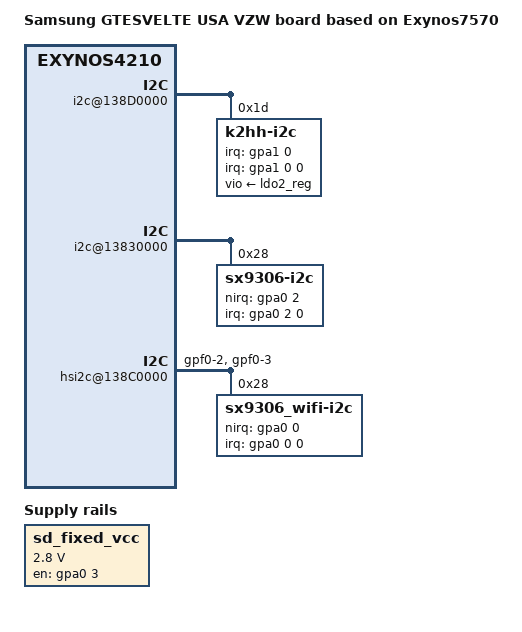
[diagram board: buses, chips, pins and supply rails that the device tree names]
/*
 * SAMSUNG UNIVERSAL7570 board device tree source
 *
 * Copyright (c) 2013 Samsung Electronics Co., Ltd.
 *		http://www.samsung.com
 *
 * This program is free software; you can redistribute it and/or modify
 * it under the terms of the GNU General Public License version 2 as
 * published by the Free Software Foundation.
*/

/dts-v1/;
#include "exynos7570-rmem.dtsi"
#include "exynos7570-gtesvelte_common.dtsi"
#include "modem-ss305ap-pdata.dtsi"
#include "exynos7570-gtesvelte_battery.dtsi"
#include "exynos7570-gtesvelte_usa_vzw_gpio_00.dtsi"

/ {
	model = "Samsung GTESVELTE USA VZW board based on Exynos7570";
        model_info-chip = <7570>;
        model_info-platform = "android";
        model_info-subtype = "samsung";
        model_info-hw_rev = <0>;
        model_info-hw_rev_end = <0>;
	compatible = "samsung,exynos7570", "samsung,exynos4210";


	pinctrl@139F0000 {
		acc_int: acc_int {
			samsung,pins = "gpa1-0";
			samsung,pin-function = <0xF>;
			samsung,pin-pud = <0>;
			samsung,pin-drv = <0>;
		};

		grip_int: grip_int {
			samsung,pins = "gpa0-2";
			samsung,pin-function = <0xF>;
			samsung,pin-pud = <0>;
			samsung,pin-drv = <0>;
		};

		grip_wifi_int: grip_wifi_int {
			samsung,pins = "gpa0-0";
			samsung,pin-function = <0xF>;
			samsung,pin-pud = <0>;
			samsung,pin-drv = <0>;
		};
	};

	pinctrl@139B0000 {
		grip_wifi_i2c: grip_wifi_i2c {
			samsung,pins = "gpf0-2", "gpf0-3";
			samsung,pin-function = <2>;
			samsung,pin-pud = <3>;
		};
	};

	i2c@138D0000 {
		samsung,i2c-sda-delay = <100>;
		samsung,i2c-max-bus-freq = <400000>;
		status = "okay";
		#address-cells = <1>;
		#size-cells = <0>;
		pinctrl-names = "default";

		k2hh-i2c@1D {
			compatible = "k2hh-i2c";
			reg = <0x1D>;
			pinctrl-names = "default";
			pinctrl-0 = <&acc_int>;
			interrupt-parent = <&gpa1>;
			interrupts = <0 0 0>;
			k2hh,irq_gpio = <&gpa1 0 0>;
			k2hh,vio-supply = <&ldo2_reg>;
			k2hh,axis_map_x = <1>;
			k2hh,axis_map_y = <0>;
			k2hh,axis_map_z = <2>;
			k2hh,negate_x = <1>;
			k2hh,negate_y = <0>;
			k2hh,negate_z = <1>;
			k2hh,poll_interval = <100>;
			k2hh,min_interval = <2>;
		};
	};

	i2c@13830000 {
		samsung,i2c-sda-delay = <100>;
		samsung,i2c-max-bus-freq = <400000>;
		status = "okay";
		#address-cells = <1>;
		#size-cells = <0>;
		pinctrl-names = "default";		
		
		sx9306-i2c@28 {
			compatible = "sx9306-i2c";
			reg = <0x28>;
			pinctrl-names = "default";
			pinctrl-0 = <&grip_int>;
			interrupt-parent = <&gpa0>;
			interrupts = <2 0 0>;
			sx9306-i2c,nirq-gpio = <&gpa0 2 0>;
			#sx9306-i2c,ctrl0 = <0x14>; /* Scanperiod : 60 */
			sx9306-i2c,ctrl2 = <0x77>; /* Gain: 8, Freq : 167, Resolution : Finest */
			sx9306-i2c,ctrl3 = <0x03>; /* Rawfilter: High */
			sx9306-i2c,ctrl4 = <0x40>; /* AVGTHRESH */
			sx9306-i2c,ctrl5 = <0x36>; /* AVGNEG: 110 AVGPOS: 110 */
			sx9306-i2c,normal-thd = <5>; /* normal touch threshold */
			sx9306-i2c,ch-main = <2>; /* channel number */
			sx9306-i2c,ch-sub1 = <0xff>; /*oxff: Not be used sub channel */
			sx9306-i2c,ta-thd = <0x0f>; /* TA threhold : 300 */
		};
	};

	hsi2c@138C0000 {
		status = "okay";
		pinctrl-names = "default";
		pinctrl-0 = <&grip_wifi_i2c>;	

		sx9306_wifi-i2c@28{
			compatible = "sx9306_wifi-i2c";
			reg = <0x28>;
			pinctrl-names = "default";
			pinctrl-0 = <&grip_wifi_int>;
			interrupt-parent = <&gpa0>;
			interrupts = <0 0 0>;
			sx9306_wifi-i2c,nirq-gpio = <&gpa0 0 0>;
			#sx9306_wifi-i2c,ctrl0 = <0x04>; /* Scanperiod : 30 */
			sx9306_wifi-i2c,ctrl2 = <0x77>; /* Gain:8, Freq : 167, Resolution : Finest */
			sx9306_wifi-i2c,ctrl3 = <0x03>; /* Rawfilter: High */
			#sx9306_wifi-i2c,ctrl5 = <0x0f>; /* AVGNEG:001 AVGPOS : 111 */
			sx9306_wifi-i2c,normal-thd = <4>; /* normal touch threshold */
			sx9306_wifi-i2c,ch-main = <2>; /* channel number */
			sx9306_wifi-i2c,ch-sub1 = <0xff>; /*oxff: Not be used sub channel */
			sx9306_wifi-i2c,ta-thd = <0x0f>; /* TA threhold : 300 */
		};
	};

	pinctrl@139F0000 {
		dwmmc2_tflash_en: dwmmc2_tflash_en {
			   samsung,pins = "gpa0-3";
			   samsung,pin-function = <0x1>;
			   samsung,pin-val = <1>;
			   samsung,pin-pud = <0>;
			   samsung,pin-drv = <4>;
		};
	};

	dwmmc2@13560000 {
		pinctrl-names = "default",
			"fast-slew-rate-1x",
			"fast-slew-rate-2x",
			"fast-slew-rate-3x",
			"fast-slew-rate-4x";
		pinctrl-0 = <&sd2_clk &sd2_cmd &sd2_bus1 &sd2_bus4
			     &dwmmc2_cd_ext_irq &dwmmc2_tflash_en>;
		pinctrl-1 = <&sd2_clk_fast_slew_rate_1x>;
		pinctrl-2 = <&sd2_clk_fast_slew_rate_2x>;
		pinctrl-3 = <&sd2_clk_fast_slew_rate_3x>;
		pinctrl-4 = <&sd2_clk_fast_slew_rate_4x>;
	};

	sd_fixed_vcc: fixedregulator@1 {
		      compatible = "regulator-fixed";
		      regulator-name = "vmmc";
		      gpio = <&gpa0 3 1>;
		      regulator-min-microvolt = <2800000>;
		      regulator-max-microvolt = <2800000>;
		      regulator-initial-mode = <0>;
		      enable-active-high;
		      regulator-boot-on;
	};
	
	/* modem_interface */
	mif_pdata {
		reg = <0 0x10000 0x0>;

		pinctrl-names = "default";
		pinctrl-0 = <&cp_gpio_tabes_vzw>;
	};

	/* USIM DETECTION FOR CP */
	usim_det {
		pinctrl-names = "default";
		pinctrl-0 = <&sim1_gpio_on5>;

		mif,num_of_usim_det = <1>;
		mif,usim-det0-gpio = <&gpa1 4 0>;
		
	};
};
